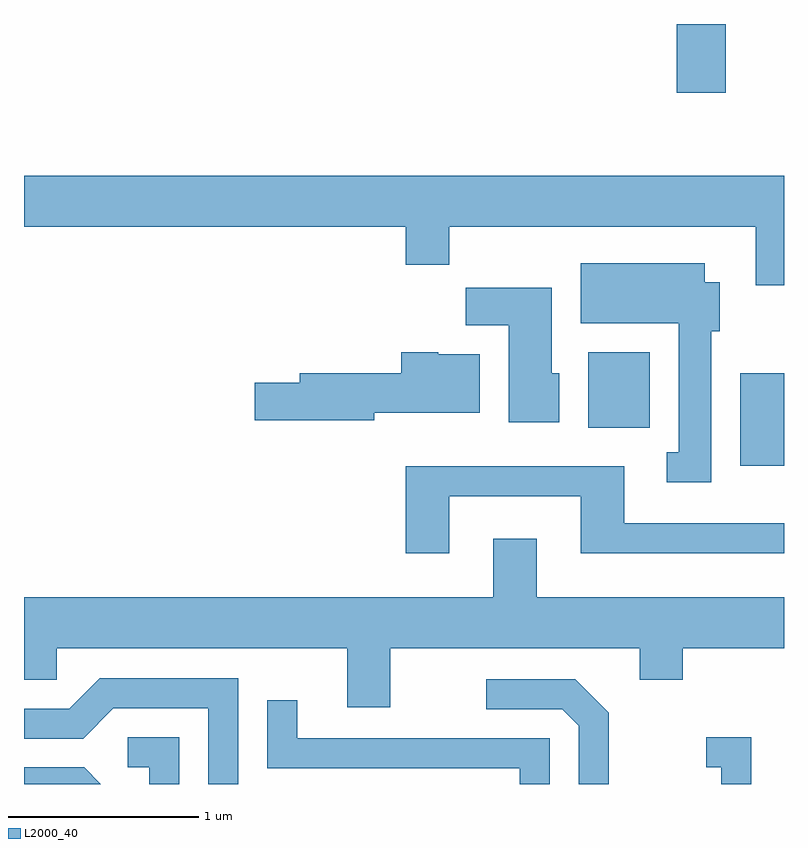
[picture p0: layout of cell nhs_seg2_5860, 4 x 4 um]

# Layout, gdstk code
import gdstk
lib = gdstk.Library(unit=1e-6, precision=1e-09)
def R(c, l, rs):  # rectangles x0, y0, x1, y1
    for r in rs: c.add(gdstk.rectangle(r[:2], r[2:], *l))
def P(c, l, *ps):  # polygons
    for p in ps: c.add(gdstk.Polygon(p, *l))
L2000_40 = (2000, 40)

nhs_seg2_5860 = lib.new_cell('nhs_seg2_5860')
R(nhs_seg2_5860, L2000_40, [(361.381,1071.476,361.611,1071.964), (360.581,1071.676,360.904,1072.074), (361.046,1073.441,361.304,1073.802)])
P(nhs_seg2_5860, L2000_40, [(361.611,1073.004),(357.611,1073.004),(357.611,1072.736),(359.621,1072.736),(359.621,1072.536),(359.849,1072.536),(359.849,1072.736),(361.461,1072.736),(361.461,1072.426),(361.611,1072.426)],
  [(361.229,1072.186),(361.274,1072.186),(361.274,1072.444),(361.194,1072.444),(361.194,1072.544),(360.541,1072.544),(360.541,1072.226),(361.056,1072.226),(361.056,1071.549),(360.993,1071.549),(360.993,1071.391),(361.229,1071.391)],
  [(360.429,1071.964),(360.389,1071.964),(360.389,1072.414),(359.936,1072.414),(359.936,1072.216),(360.161,1072.216),(360.161,1071.706),(360.429,1071.706)],
  [(359.454,1071.756),(360.009,1071.756),(360.009,1072.064),(359.79,1072.064),(359.79,1072.074),(359.596,1072.074),(359.596,1071.964),(359.061,1071.964),(359.061,1071.914),(358.826,1071.914),(358.826,1071.716),(359.454,1071.716)],
  [(359.849,1071.316),(360.541,1071.316),(360.541,1071.016),(361.611,1071.016),(361.611,1071.174),(360.769,1071.174),(360.769,1071.474),(359.621,1071.474),(359.621,1071.016),(359.849,1071.016)],
  [(359.539,1070.516),(360.851,1070.516),(360.851,1070.351),(361.079,1070.351),(361.079,1070.516),(361.611,1070.516),(361.611,1070.784),(360.309,1070.784),(360.309,1071.094),(360.081,1071.094),(360.081,1070.784),(357.611,1070.784),(357.611,1070.351),(357.784,1070.351),(357.784,1070.516),(359.311,1070.516),(359.311,1070.206),(359.539,1070.206)],
  [(358.739,1070.359),(358.009,1070.359),(357.849,1070.199),(357.611,1070.199),(357.611,1070.041),(357.922,1070.041),(358.082,1070.201),(358.581,1070.201),(358.581,1069.802),(358.739,1069.802)],
  [(360.689,1070.177),(360.512,1070.354),(360.043,1070.354),(360.043,1070.196),(360.444,1070.196),(360.531,1070.109),(360.531,1069.802),(360.689,1069.802)],
  [(360.379,1070.044),(359.049,1070.044),(359.049,1070.243),(358.891,1070.243),(358.891,1069.886),(360.221,1069.886),(360.221,1069.802),(360.379,1069.802)],
  [(361.439,1070.049),(361.203,1070.049),(361.203,1069.891),(361.281,1069.891),(361.281,1069.802),(361.439,1069.802)],
  [(358.429,1070.049),(358.158,1070.049),(358.158,1069.891),(358.271,1069.891),(358.271,1069.802),(358.429,1069.802)],
  [(357.927,1069.889),(357.611,1069.889),(357.611,1069.802),(358.014,1069.802)])

lib.write_gds('nhs_seg2_5860.gds')
